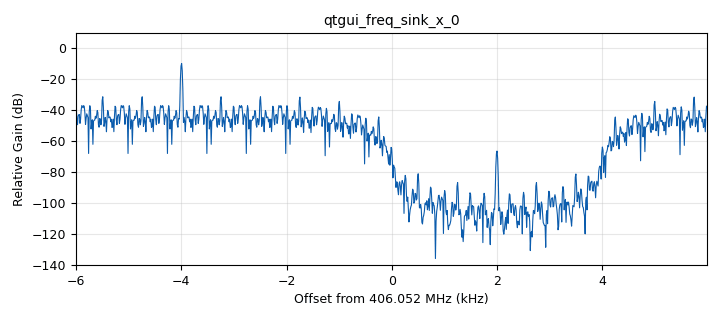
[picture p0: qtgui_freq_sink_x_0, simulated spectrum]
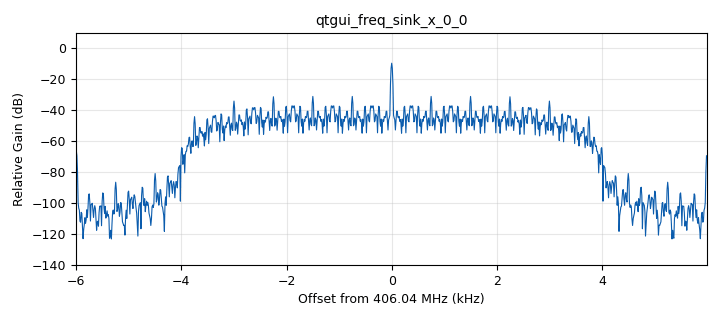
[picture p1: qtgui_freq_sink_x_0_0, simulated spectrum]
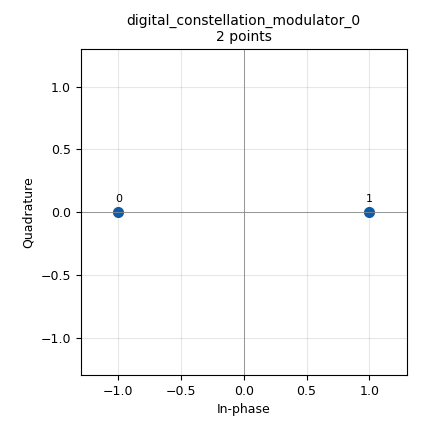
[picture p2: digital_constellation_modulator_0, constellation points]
<?xml version='1.0' encoding='utf-8'?>
<?grc format='1' created='3.7.11'?>
<flow_graph>
<block>
<key>options</key>
<param><key>id</key><value>top_block</value></param>
<param><key>generate_options</key><value>qt_gui</value></param>
</block>
<block>
<key>variable</key>
<param><key>id</key><value>carrier</value></param>
<param><key>value</key><value>406040000</value></param>
</block>
<block>
<key>variable</key>
<param><key>id</key><value>samp_rate</value></param>
<param><key>value</key><value>signal_bandwidth*2</value></param>
</block>
<block>
<key>variable</key>
<param><key>id</key><value>signal_bandwidth</value></param>
<param><key>value</key><value>6000</value></param>
</block>
<block>
<key>variable_constellation</key>
<param><key>id</key><value>variable_constellation_0</value></param>
<param><key>type</key><value>bpsk</value></param>
<param><key>precision</key><value>8</value></param>
</block>
<block>
<key>analog_random_source_x</key>
<param><key>id</key><value>analog_random_source_x_0</value></param>
<param><key>max</key><value>2</value></param>
<param><key>min</key><value>0</value></param>
<param><key>num_samps</key><value>1000</value></param>
<param><key>type</key><value>byte</value></param>
<param><key>repeat</key><value>True</value></param>
</block>
<block>
<key>analog_sig_source_x</key>
<param><key>id</key><value>analog_sig_source_x_0</value></param>
<param><key>amp</key><value>1</value></param>
<param><key>freq</key><value>carrier</value></param>
<param><key>offset</key><value>0</value></param>
<param><key>type</key><value>complex</value></param>
<param><key>samp_rate</key><value>samp_rate</value></param>
<param><key>waveform</key><value>analog.GR_COS_WAVE</value></param>
</block>
<block>
<key>blocks_multiply_xx</key>
<param><key>id</key><value>blocks_multiply_xx_0</value></param>
<param><key>type</key><value>complex</value></param>
</block>
<block>
<key>digital_constellation_modulator</key>
<param><key>id</key><value>digital_constellation_modulator_0</value></param>
<param><key>constellation</key><value>variable_constellation_0</value></param>
<param><key>differential</key><value>False</value></param>
<param><key>excess_bw</key><value>0.35</value></param>
<param><key>log</key><value>True</value></param>
<param><key>samples_per_symbol</key><value>2</value></param>
<param><key>verbose</key><value>True</value></param>
</block>
<block>
<key>qtgui_freq_sink_x</key>
<param><key>id</key><value>qtgui_freq_sink_x_0</value></param>
<param><key>bw</key><value>samp_rate</value></param>
<param><key>fc</key><value>carrier+samp_rate</value></param>
<param><key>fftsize</key><value>1024</value></param>
<param><key>showports</key><value>True</value></param>
<param><key>type</key><value>complex</value></param>
<param><key>wintype</key><value>firdes.WIN_BLACKMAN_hARRIS</value></param>
</block>
<block>
<key>qtgui_freq_sink_x</key>
<param><key>id</key><value>qtgui_freq_sink_x_0_0</value></param>
<param><key>bw</key><value>samp_rate</value></param>
<param><key>fc</key><value>carrier</value></param>
<param><key>fftsize</key><value>1024</value></param>
<param><key>grid</key><value>True</value></param>
<param><key>showports</key><value>True</value></param>
<param><key>type</key><value>complex</value></param>
<param><key>wintype</key><value>firdes.WIN_BLACKMAN_hARRIS</value></param>
</block>
<block>
<key>qtgui_time_raster_sink_x</key>
<param><key>id</key><value>qtgui_time_raster_sink_x_0</value></param>
<param><key>_enabled</key><value>0</value></param>
<param><key>ncols</key><value>1000</value></param>
<param><key>nrows</key><value>10</value></param>
<param><key>samp_rate</key><value>samp_rate</value></param>
<param><key>type</key><value>byte</value></param>
</block>
<connection><source_block_id>analog_random_source_x_0</source_block_id><sink_block_id>digital_constellation_modulator_0</sink_block_id><source_key>0</source_key><sink_key>0</sink_key></connection>
<connection><source_block_id>analog_random_source_x_0</source_block_id><sink_block_id>qtgui_time_raster_sink_x_0</sink_block_id><source_key>0</source_key><sink_key>0</sink_key></connection>
<connection><source_block_id>analog_sig_source_x_0</source_block_id><sink_block_id>blocks_multiply_xx_0</sink_block_id><source_key>0</source_key><sink_key>0</sink_key></connection>
<connection><source_block_id>blocks_multiply_xx_0</source_block_id><sink_block_id>qtgui_freq_sink_x_0</sink_block_id><source_key>0</source_key><sink_key>0</sink_key></connection>
<connection><source_block_id>digital_constellation_modulator_0</source_block_id><sink_block_id>blocks_multiply_xx_0</sink_block_id><source_key>0</source_key><sink_key>1</sink_key></connection>
<connection><source_block_id>digital_constellation_modulator_0</source_block_id><sink_block_id>qtgui_freq_sink_x_0_0</sink_block_id><source_key>0</source_key><sink_key>0</sink_key></connection>
</flow_graph>
